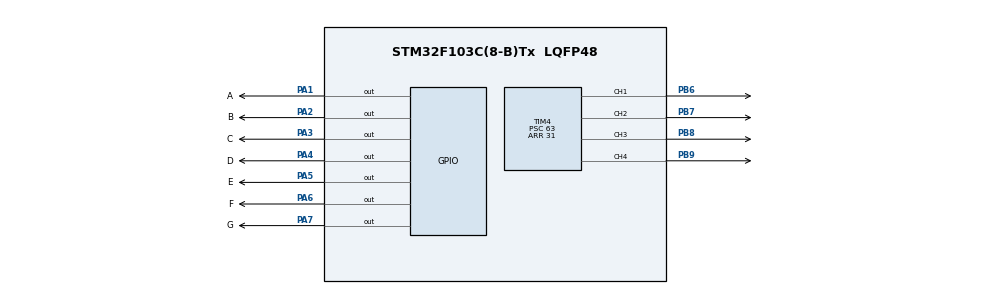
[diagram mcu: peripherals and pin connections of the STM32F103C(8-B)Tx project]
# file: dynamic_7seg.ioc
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Mcu.Family=STM32F1
Mcu.Name=STM32F103C(8-B)Tx
Mcu.Package=LQFP48
NVIC.PriorityGroup=NVIC_PRIORITYGROUP_4
NVIC.RTC_IRQn=true\:0\:0\:true\:false\:true\:true\:true\:true
NVIC.TIM4_IRQn=true\:1\:0\:true\:false\:true\:true\:true\:true
PA1.GPIO_Label=A
PA1.Signal=GPIO_Output
PA13.Mode=Serial_Wire
PA13.Signal=SYS_JTMS-SWDIO
PA14.Mode=Serial_Wire
PA14.Signal=SYS_JTCK-SWCLK
PA2.GPIO_Label=B
PA2.Signal=GPIO_Output
PA3.GPIO_Label=C
PA3.Signal=GPIO_Output
PA4.GPIO_Label=D
PA4.Signal=GPIO_Output
PA5.GPIO_Label=E
PA5.Signal=GPIO_Output
PA6.GPIO_Label=F
PA6.Signal=GPIO_Output
PA7.GPIO_Label=G
PA7.Signal=GPIO_Output
PB6.Signal=S_TIM4_CH1
PB7.Signal=S_TIM4_CH2
PB8.Signal=S_TIM4_CH3
PB9.Signal=S_TIM4_CH4
PC14-OSC32_IN.Mode=LSE-External-Oscillator
PC14-OSC32_IN.Signal=RCC_OSC32_IN
PC15-OSC32_OUT.Mode=LSE-External-Oscillator
PC15-OSC32_OUT.Signal=RCC_OSC32_OUT
PD0-OSC_IN.Mode=HSE-External-Oscillator
PD0-OSC_IN.Signal=RCC_OSC_IN
PD1-OSC_OUT.Mode=HSE-External-Oscillator
PD1-OSC_OUT.Signal=RCC_OSC_OUT
ProjectManager.HeapSize=0x200
ProjectManager.StackSize=0x400
ProjectManager.TargetToolchain=STM32CubeIDE
RCC.APB1Freq_Value=8000000
RCC.APB1TimFreq_Value=8000000
RCC.APB2Freq_Value=8000000
SH.S_TIM4_CH1.0=TIM4_CH1,Output Compare1 CH1
SH.S_TIM4_CH2.0=TIM4_CH2,Output Compare2 CH2
SH.S_TIM4_CH3.0=TIM4_CH3,Output Compare3 CH3
SH.S_TIM4_CH4.0=TIM4_CH4,Output Compare4 CH4
TIM4.Channel-Output\ Compare1\ CH1=TIM_CHANNEL_1
TIM4.Channel-Output\ Compare2\ CH2=TIM_CHANNEL_2
TIM4.Channel-Output\ Compare3\ CH3=TIM_CHANNEL_3
TIM4.Channel-Output\ Compare4\ CH4=TIM_CHANNEL_4
TIM4.OC1Preload=DISABLE
TIM4.OCMode_1=TIM_OCMODE_TOGGLE
TIM4.OCMode_2=TIM_OCMODE_TOGGLE
TIM4.OCMode_3=TIM_OCMODE_TOGGLE
TIM4.OCMode_4=TIM_OCMODE_TOGGLE
TIM4.Period=31
TIM4.Prescaler=63
TIM4.Pulse-Output\ Compare1\ CH1=0
TIM4.Pulse-Output\ Compare2\ CH2=7
TIM4.Pulse-Output\ Compare3\ CH3=15
TIM4.Pulse-Output\ Compare4\ CH4=23
VP_RTC_No_RTC_Output.Mode=RTC_OUT_NO
VP_RTC_VS_RTC_Activate.Mode=RTC_Enabled
VP_TIM4_VS_ClockSourceINT.Mode=Internal
board=custom

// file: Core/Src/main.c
/* USER CODE BEGIN Header */
/**
  ******************************************************************************
  * @file           : main.c
  * @brief          : Main program body
  ******************************************************************************
  * @attention
  *
  * Copyright (c) 2023 STMicroelectronics.
  * All rights reserved.
  *
  * This software is licensed under terms that can be found in the LICENSE file
  * in the root directory of this software component.
  * If no LICENSE file comes with this software, it is provided AS-IS.
  *
  ******************************************************************************
  */
/* USER CODE END Header */
#include "main.h"
#include "rtc.h"
#include "tim.h"
#include "gpio.h"

/* USER CODE BEGIN PD */
uint16_t pulse=0;
/* USER CODE END PD */

/* USER CODE BEGIN PV */
uint32_t time = 0;
/* USER CODE END PV */

void SystemClock_Config(void);

/* USER CODE BEGIN 0 */
void segchar (uint32_t seg){
        switch (seg)
        {
                case 1:
                		GPIOA->BSRR = 0x00F2000C;
                        //SA_RESET;SB_SET;SC_SET;SD_RESET;SE_RESET;SF_RESET;SG_RESET;

                        break;

                case 2:
                		GPIOA->BSRR = 0x004800B6;
                        //SA_SET;SB_SET;SC_RESET;SD_SET;SE_SET;SF_RESET;SG_SET;

                        break;

                case 3:
                		GPIOA->BSRR = 0x0060009E;
                        //SA_SET;SB_SET;SC_SET;SD_SET;SE_RESET;SF_RESET;SG_SET;

                        break;

                case 4:
                		GPIOA->BSRR = 0x003200CC;
                        //SA_RESET;SB_SET;SC_SET;SD_RESET;SE_RESET;SF_SET;SG_SET;

                        break;

                case 5:
                		GPIOA->BSRR = 0x002400DA;
                        //SA_SET;SB_RESET;SC_SET;SD_SET;SE_RESET;SF_SET;SG_SET;

                        break;

                case 6:
                		GPIOA->BSRR = 0x00400FA;
                        //SA_SET;SB_RESET;SC_SET;SD_SET;SE_SET;SF_SET;SG_SET;

                        break;

                case 7:
                		GPIOA->BSRR = 0x00F0000E;
                        //SA_SET;SB_SET;SC_SET;SD_RESET;SE_RESET;SF_RESET;SG_RESET;

                        break;

                case 8:
                		GPIOA->BSRR = 0x000000FE;
                        //SA_SET;SB_SET;SC_SET;SD_SET;SE_SET;SF_SET;SG_SET;

                        break;

                case 9:
                		GPIOA->BSRR = 0x002000DE;
                        //SA_SET;SB_SET;SC_SET;SD_SET;SE_RESET;SF_SET;SG_SET;

                        break;

                case 0:
                		GPIOA->BSRR = 0x0080007E;
                        //SA_SET;SB_SET;SC_SET;SD_SET;SE_SET;SF_SET;SG_RESET;

                        break;
        }
}
void segment_show(uint8_t n){
	switch(n){
		case 1:
			segchar(time%10);
		break;
		case 2:
			segchar((time/10)%10);
		break;
		case 3:
			segchar((time/100)%10);
		break;
		case 4:
			segchar((time/1000)%10);
		break;
	}
}
/* USER CODE END 0 */

int main(void)
{

  /* MCU Configuration--------------------------------------------------------*/

  /* Reset of all peripherals, Initializes the Flash interface and the Systick. */
  HAL_Init();

  /* Configure the system clock */
  SystemClock_Config();

  /* Initialize all configured peripherals */
  MX_GPIO_Init();
  MX_RTC_Init();
  MX_TIM4_Init();
  /* USER CODE BEGIN 2 */
  //interrupt handling start
  HAL_TIM_OC_Start_IT(&htim4,TIM_CHANNEL_1);
  HAL_TIM_OC_Start_IT(&htim4,TIM_CHANNEL_2);
  HAL_TIM_OC_Start_IT(&htim4,TIM_CHANNEL_3);
  HAL_TIM_OC_Start_IT(&htim4,TIM_CHANNEL_4);

  /* USER CODE END 2 */

  /* Infinite loop */
  while (1)
  {
	  HAL_Delay(1);
  }
}

void SystemClock_Config(void)
{
  RCC_OscInitTypeDef RCC_OscInitStruct = {0};
  RCC_ClkInitTypeDef RCC_ClkInitStruct = {0};
  RCC_PeriphCLKInitTypeDef PeriphClkInit = {0};

  /** Initializes the RCC Oscillators according to the specified parameters
  * in the RCC_OscInitTypeDef structure.
  */
  RCC_OscInitStruct.OscillatorType = RCC_OSCILLATORTYPE_HSI|RCC_OSCILLATORTYPE_LSI;
  RCC_OscInitStruct.HSIState = RCC_HSI_ON;
  RCC_OscInitStruct.HSICalibrationValue = RCC_HSICALIBRATION_DEFAULT;
  RCC_OscInitStruct.LSIState = RCC_LSI_ON;
  RCC_OscInitStruct.PLL.PLLState = RCC_PLL_NONE;
  if (HAL_RCC_OscConfig(&RCC_OscInitStruct) != HAL_OK)
  {
    Error_Handler();
  }

  /** Initializes the CPU, AHB and APB buses clocks
  */
  RCC_ClkInitStruct.ClockType = RCC_CLOCKTYPE_HCLK|RCC_CLOCKTYPE_SYSCLK
                              |RCC_CLOCKTYPE_PCLK1|RCC_CLOCKTYPE_PCLK2;
  RCC_ClkInitStruct.SYSCLKSource = RCC_SYSCLKSOURCE_HSI;
  RCC_ClkInitStruct.AHBCLKDivider = RCC_SYSCLK_DIV1;
  RCC_ClkInitStruct.APB1CLKDivider = RCC_HCLK_DIV1;
  RCC_ClkInitStruct.APB2CLKDivider = RCC_HCLK_DIV1;

  if (HAL_RCC_ClockConfig(&RCC_ClkInitStruct, FLASH_LATENCY_0) != HAL_OK)
  {
    Error_Handler();
  }
  PeriphClkInit.PeriphClockSelection = RCC_PERIPHCLK_RTC;
  PeriphClkInit.RTCClockSelection = RCC_RTCCLKSOURCE_LSI;
  if (HAL_RCCEx_PeriphCLKConfig(&PeriphClkInit) != HAL_OK)
  {
    Error_Handler();
  }
}

/* USER CODE BEGIN 4 */
void HAL_TIM_OC_DelayElapsedCallback(TIM_HandleTypeDef *htim)
{

	//if ( htim->Instance == TIM4){}

		if(htim->Channel == HAL_TIM_ACTIVE_CHANNEL_1)
		{
			pulse = HAL_TIM_ReadCapturedValue(htim, TIM_CHANNEL_1);
			/* Set the Capture Compare Register value */

			if(pulse == 0)
			{
				segment_show(1);
				__HAL_TIM_SET_COMPARE(htim, TIM_CHANNEL_1, (pulse + 25));
			}
			else{
				GPIOA->BSRR = 0x00FE0000;
				__HAL_TIM_SET_COMPARE(htim, TIM_CHANNEL_1, 0);
			}

		}

		if(htim->Channel == HAL_TIM_ACTIVE_CHANNEL_2)

		{
			pulse = HAL_TIM_ReadCapturedValue(htim, TIM_CHANNEL_2);
			/* Set the Capture Compare Register value */

			if(pulse == 31)
			{
				segment_show(2);
				__HAL_TIM_SET_COMPARE(htim, TIM_CHANNEL_2, (pulse + 25));
			}
			else{
				GPIOA->BSRR = 0x00FE0000;
				__HAL_TIM_SET_COMPARE(htim, TIM_CHANNEL_2, 31);
			}
		}

		if(htim->Channel == HAL_TIM_ACTIVE_CHANNEL_3)

		{
			pulse = HAL_TIM_ReadCapturedValue(htim, TIM_CHANNEL_3);
			/* Set the Capture Compare Register value */

			if(pulse == 63)
			{
				segment_show(3);
				__HAL_TIM_SET_COMPARE(htim, TIM_CHANNEL_3, (pulse + 25));
			}
			else{
				GPIOA->BSRR = 0x00FE0000;
				__HAL_TIM_SET_COMPARE(htim, TIM_CHANNEL_3, 63);
			}
		}
		if(htim->Channel == HAL_TIM_ACTIVE_CHANNEL_4)

		{
			pulse = HAL_TIM_ReadCapturedValue(htim, TIM_CHANNEL_4);
			/* Set the Capture Compare Register value */

			if(pulse == 95)
			{
				segment_show(4);
				__HAL_TIM_SET_COMPARE(htim, TIM_CHANNEL_4, (pulse + 25));
			}
			else{
				GPIOA->BSRR = 0x00FE0000;
				__HAL_TIM_SET_COMPARE(htim, TIM_CHANNEL_4, 95);
			}
		}

}

void HAL_RTCEx_RTCEventCallback(RTC_HandleTypeDef *hrtc){
	time=time+1;
}
/* USER CODE END 4 */

void Error_Handler(void)
{
  __disable_irq();
  while (1)
  {
  }
}
